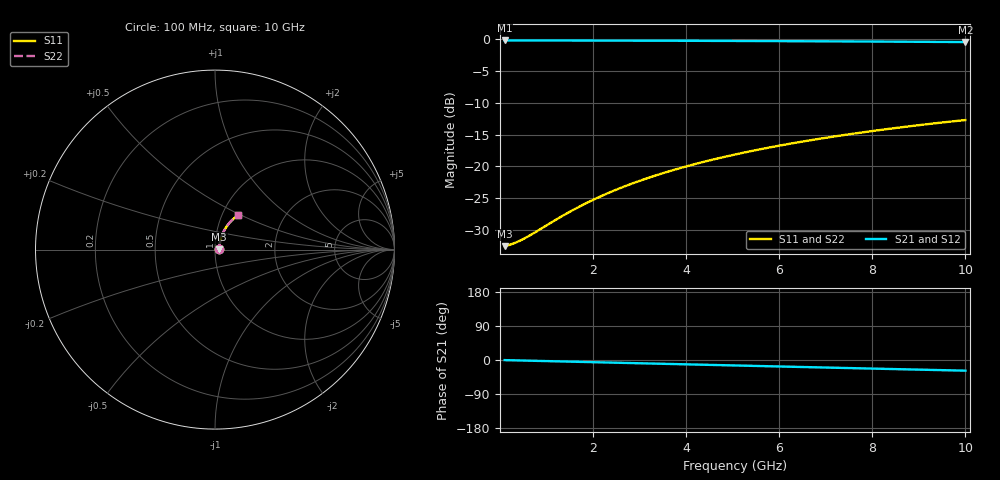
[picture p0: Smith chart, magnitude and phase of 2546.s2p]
# Hz S RI R 50.00
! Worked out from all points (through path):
!   100 points, 100 MHz to 10 GHz, reference 50 ohm
!   highest |S21| = -0.21 dB at 100 MHz (marker M1); lowest = -0.5 dB at 10 GHz (marker M2)
!   group delay of S21, straight-line fit = 7.83 ps
!   lowest |S11| = -32.5 dB at 100 MHz (marker M3), VSWR 1.05, Z = 52.4 + j0.244 ohm
!   |S11| at or under -10 dB: start of sweep to end of sweep
!   |S22| runs from -32.5 to -12.7 dB; largest |S21 - S12| = 0
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1e8  0.0235 0.00233  0.9765 -0.00489  0.9765 -0.00489  0.0235 0.00233
2e8  0.0237 0.00466  0.9763 -0.00978  0.9763 -0.00978  0.0237 0.00466
3e8  0.0238 0.00698  0.9761 -0.0147  0.9761 -0.0147  0.0238 0.00698
5e8  0.0242 0.0116  0.9757 -0.0244  0.9757 -0.0244  0.0242 0.0116
7e8  0.0246 0.0163  0.9752 -0.0342  0.9752 -0.0342  0.0246 0.0163
1.2e9  0.0259 0.0278  0.9735 -0.0585  0.9735 -0.0585  0.0259 0.0278
1.4e9  0.0266 0.0324  0.9727 -0.0682  0.9727 -0.0682  0.0266 0.0324
1.8e9  0.0283 0.0415  0.9706 -0.0876  0.9706 -0.0876  0.0283 0.0415
2.2e9  0.0302 0.0506  0.9681 -0.1069  0.9681 -0.1069  0.0302 0.0506
2.6e9  0.0325 0.0596  0.9652 -0.1261  0.9652 -0.1261  0.0325 0.0596
3e9  0.0352 0.0684  0.9617 -0.1452  0.9617 -0.1452  0.0352 0.0684
3.4e9  0.0382 0.0771  0.9579 -0.1642  0.9579 -0.1642  0.0382 0.0771
3.8e9  0.0416 0.0857  0.9536 -0.183  0.9536 -0.183  0.0416 0.0857
4.2e9  0.0452 0.0942  0.9488 -0.2017  0.9488 -0.2017  0.0452 0.0942
4.6e9  0.0492 0.1024  0.9436 -0.2202  0.9436 -0.2202  0.0492 0.1024
5.1e9  0.0547 0.1125  0.9366 -0.2431  0.9366 -0.2431  0.0547 0.1125
5.9e9  0.0644 0.1279  0.9239 -0.279  0.9239 -0.279  0.0644 0.1279
6.7e9  0.0752 0.1425  0.9097 -0.3141  0.9097 -0.3141  0.0752 0.1425
7.5e9  0.087 0.1561  0.894 -0.3481  0.894 -0.3481  0.087 0.1561
8.4e9  0.1015 0.1701  0.8747 -0.3852  0.8747 -0.3852  0.1015 0.1701
9.2e9  0.1153 0.1814  0.8561 -0.4169  0.8561 -0.4169  0.1153 0.1814
1e10  0.1297 0.1916  0.8364 -0.4475  0.8364 -0.4475  0.1297 0.1916
